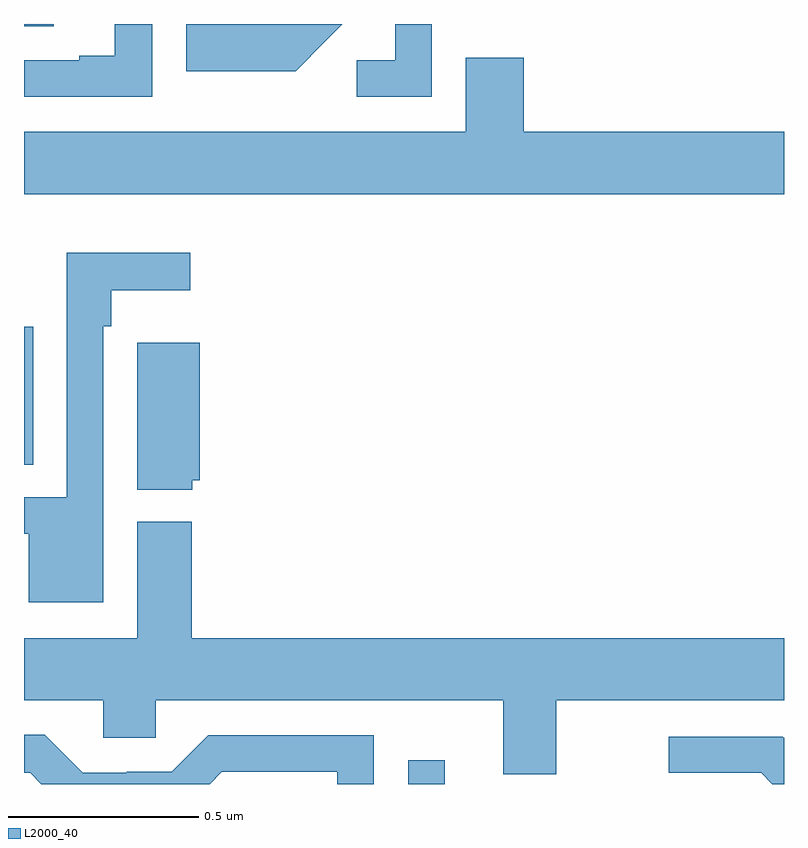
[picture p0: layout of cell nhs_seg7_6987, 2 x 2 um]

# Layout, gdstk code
import gdstk
lib = gdstk.Library(unit=1e-6, precision=1e-09)
def R(c, l, rs):  # rectangles x0, y0, x1, y1
    for r in rs: c.add(gdstk.rectangle(r[:2], r[2:], *l))
def P(c, l, *ps):  # polygons
    for p in ps: c.add(gdstk.Polygon(p, *l))
L2000_40 = (2000, 40)

nhs_seg7_6987 = lib.new_cell('nhs_seg7_6987')
R(nhs_seg7_6987, L2000_40, [(206.011,1063,206.107,1063.063), (205,1063.84,205.024,1064.203), (205,1064.994,205.078,1065)])
P(nhs_seg7_6987, L2000_40, [(205.795,1064.957),(205.838,1065),(205.427,1065),(205.427,1064.876),(205.715,1064.876)],
  [(206.073,1065),(205.977,1065),(205.977,1064.904),(205.875,1064.904),(205.875,1064.808),(206.073,1064.808)],
  [(205.338,1065),(205.239,1065),(205.239,1064.917),(205.145,1064.917),(205.145,1064.904),(205,1064.904),(205,1064.808),(205.338,1064.808)],
  [(207,1064.716),(206.315,1064.716),(206.315,1064.911),(206.162,1064.911),(206.162,1064.716),(205,1064.716),(205,1064.552),(207,1064.552)],
  [(205.209,1064.204),(205.229,1064.204),(205.229,1064.3),(205.438,1064.3),(205.438,1064.398),(205.113,1064.398),(205.113,1063.755),(205,1063.755),(205,1063.659),(205.013,1063.659),(205.013,1063.478),(205.209,1063.478)],
  [(205.443,1063.8),(205.462,1063.8),(205.462,1064.161),(205.298,1064.161),(205.298,1063.775),(205.443,1063.775)],
  [(206.401,1063.22),(207,1063.22),(207,1063.384),(205.442,1063.384),(205.442,1063.69),(205.298,1063.69),(205.298,1063.384),(205,1063.384),(205,1063.22),(205.209,1063.22),(205.209,1063.122),(205.347,1063.122),(205.347,1063.22),(206.261,1063.22),(206.261,1063.026),(206.401,1063.026)],
  [(205.521,1063.032),(205.824,1063.032),(205.824,1063),(205.92,1063),(205.92,1063.128),(205.485,1063.128),(205.389,1063.032),(205.271,1063.032),(205.271,1063.029),(205.155,1063.029),(205.055,1063.129),(205,1063.129),(205,1063.029),(205.017,1063.029),(205.046,1063),(205.489,1063)],
  [(207,1063.122),(206.997,1063.125),(206.697,1063.125),(206.697,1063.029),(206.94,1063.029),(206.969,1063),(207,1063)])

lib.write_gds('nhs_seg7_6987.gds')
